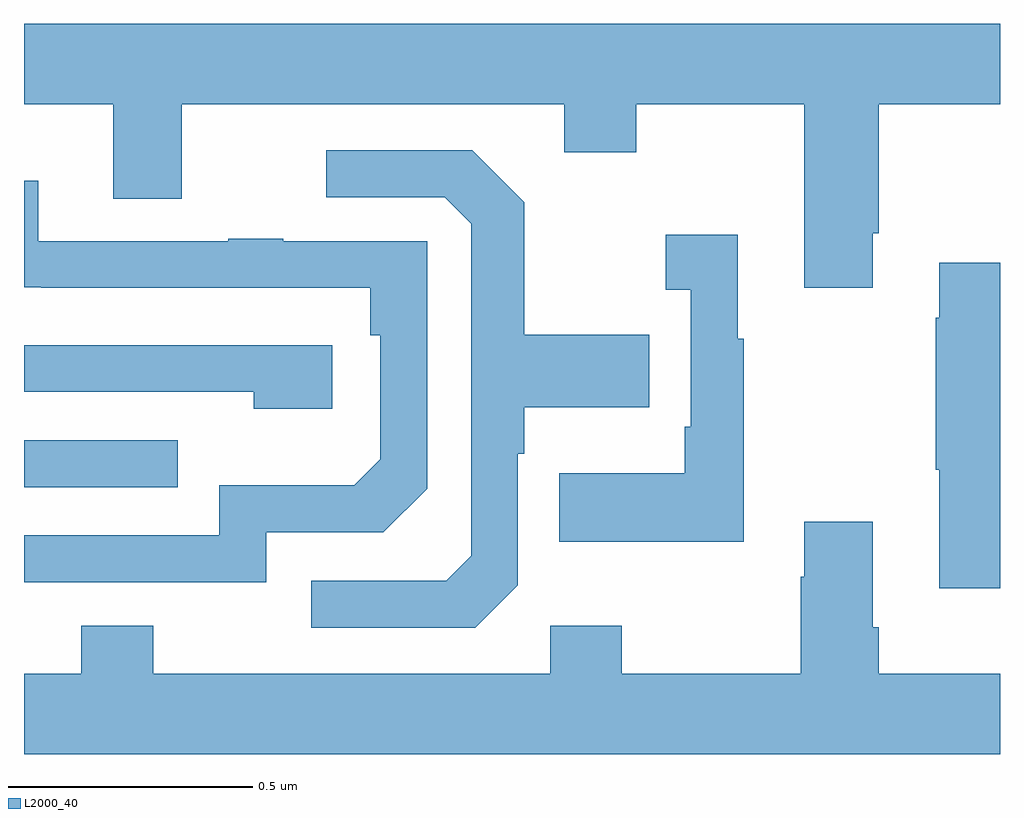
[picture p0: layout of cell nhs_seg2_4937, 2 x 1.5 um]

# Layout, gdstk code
import gdstk
lib = gdstk.Library(unit=1e-6, precision=1e-09)
def R(c, l, rs):  # rectangles x0, y0, x1, y1
    for r in rs: c.add(gdstk.rectangle(r[:2], r[2:], *l))
def P(c, l, *ps):  # polygons
    for p in ps: c.add(gdstk.Polygon(p, *l))
L2000_40 = (2000, 40)

nhs_seg2_4937 = lib.new_cell('nhs_seg2_4937')
R(nhs_seg2_4937, L2000_40, [(173,585.579,173.315,585.675)])
P(nhs_seg2_4937, L2000_40, [(174.739,586.099),(174.752,586.099),(174.752,586.364),(175,586.364),(175,586.528),(173,586.528),(173,586.364),(173.183,586.364),(173.183,586.17),(173.323,586.17),(173.323,586.364),(174.107,586.364),(174.107,586.265),(174.255,586.265),(174.255,586.364),(174.599,586.364),(174.599,585.987),(174.739,585.987)],
  [(174.012,585.378),(174.012,585.647),(174.025,585.647),(174.025,585.743),(174.281,585.743),(174.281,585.891),(174.025,585.891),(174.025,586.163),(173.919,586.269),(173.619,586.269),(173.619,586.173),(173.862,586.173),(173.916,586.119),(173.916,585.438),(173.865,585.387),(173.589,585.387),(173.589,585.291),(173.925,585.291)],
  [(173.496,585.486),(173.736,585.486),(173.826,585.576),(173.826,586.083),(173.531,586.083),(173.531,586.088),(173.419,586.088),(173.419,586.083),(173.029,586.083),(173.029,586.207),(173,586.207),(173,585.988),(173.035,585.988),(173.035,585.987),(173.71,585.987),(173.71,585.89),(173.73,585.89),(173.73,585.636),(173.677,585.583),(173.4,585.583),(173.4,585.48),(173,585.48),(173,585.384),(173.496,585.384)],
  [(174.475,585.883),(174.463,585.883),(174.463,586.096),(174.315,586.096),(174.315,585.983),(174.366,585.983),(174.366,585.703),(174.354,585.703),(174.354,585.607),(174.097,585.607),(174.097,585.467),(174.475,585.467)],
  [(175,586.039),(174.875,586.039),(174.875,585.926),(174.868,585.926),(174.868,585.615),(174.875,585.615),(174.875,585.372),(175,585.372)],
  [(173.632,585.87),(173,585.87),(173,585.774),(173.471,585.774),(173.471,585.74),(173.632,585.74)],
  [(175,585.196),(174.752,585.196),(174.752,585.292),(174.739,585.292),(174.739,585.508),(174.599,585.508),(174.599,585.395),(174.592,585.395),(174.592,585.196),(174.225,585.196),(174.225,585.295),(174.078,585.295),(174.078,585.196),(173.265,585.196),(173.265,585.295),(173.117,585.295),(173.117,585.196),(173,585.196),(173,585.032),(175,585.032)])

lib.write_gds('nhs_seg2_4937.gds')
